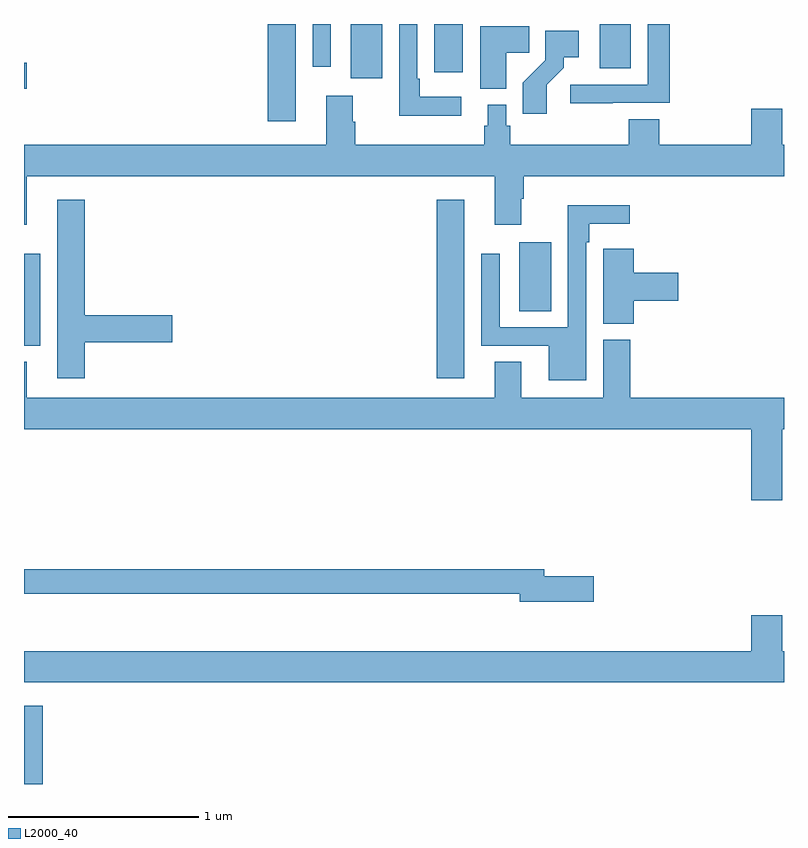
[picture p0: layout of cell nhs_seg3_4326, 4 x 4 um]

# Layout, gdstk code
import gdstk
lib = gdstk.Library(unit=1e-6, precision=1e-09)
def R(c, l, rs):  # rectangles x0, y0, x1, y1
    for r in rs: c.add(gdstk.rectangle(r[:2], r[2:], *l))
def P(c, l, *ps):  # polygons
    for p in ps: c.add(gdstk.Polygon(p, *l))
L2000_40 = (2000, 40)

nhs_seg3_4326 = lib.new_cell('nhs_seg3_4326')
R(nhs_seg3_4326, L2000_40, [(341,680.4,341.099,680.812), (343.172,682.536,343.318,683.476), (341,682.707,341.085,683.191), (343.607,682.888,343.774,683.251), (342.284,683.889,342.43,684.4), (341,684.058,341.014,684.195), (342.719,684.114,342.886,684.4), (343.16,684.147,343.309,684.4), (344.03,684.166,344.194,684.4), (342.519,684.174,342.615,684.4)])
P(nhs_seg3_4326, L2000_40, [(344.099,683.985),(344.399,683.985),(344.399,684.4),(344.283,684.4),(344.283,684.081),(343.875,684.081),(343.875,683.983),(344.099,683.983)],
  [(343.3,684.016),(343.084,684.016),(343.084,684.112),(343.071,684.112),(343.071,684.4),(342.975,684.4),(342.975,683.918),(343.3,683.918)],
  [(343.537,684.25),(343.658,684.25),(343.658,684.388),(343.4,684.388),(343.4,684.059),(343.537,684.059)],
  [(343.75,684.079),(343.84,684.169),(343.84,684.224),(343.921,684.224),(343.921,684.364),(343.743,684.364),(343.743,684.209),(343.624,684.09),(343.624,683.928),(343.75,683.928)],
  [(343.478,683.343),(343.618,683.343),(343.618,683.48),(343.631,683.48),(343.631,683.6),(345,683.6),(345,683.764),(344.992,683.764),(344.992,683.953),(344.828,683.953),(344.828,683.764),(344.343,683.764),(344.343,683.9),(344.183,683.9),(344.183,683.764),(343.559,683.764),(343.559,683.865),(343.539,683.865),(343.539,683.974),(343.442,683.974),(343.442,683.865),(343.423,683.865),(343.423,683.764),(342.743,683.764),(342.743,683.885),(342.73,683.885),(342.73,684.022),(342.59,684.022),(342.59,683.764),(341,683.764),(341,683.343),(341.014,683.343),(341.014,683.6),(343.478,683.6)],
  [(341.321,682.726),(341.779,682.726),(341.779,682.868),(341.321,682.868),(341.321,683.476),(341.174,683.476),(341.174,682.536),(341.321,682.536)],
  [(343.959,683.252),(343.975,683.252),(343.975,683.348),(344.188,683.348),(344.188,683.446),(343.863,683.446),(343.863,682.803),(343.503,682.803),(343.503,683.191),(343.407,683.191),(343.407,682.707),(343.763,682.707),(343.763,682.526),(343.959,682.526)],
  [(344.21,682.943),(344.443,682.943),(344.443,683.09),(344.21,683.09),(344.21,683.218),(344.049,683.218),(344.049,683.105),(344.048,683.105),(344.048,682.822),(344.21,682.822)],
  [(344.992,682.268),(345,682.268),(345,682.432),(344.192,682.432),(344.192,682.737),(344.048,682.737),(344.048,682.432),(343.618,682.432),(343.618,682.622),(343.478,682.622),(343.478,682.432),(341.014,682.432),(341.014,682.622),(341,682.622),(341,682.268),(344.828,682.268),(344.828,681.894),(344.992,681.894)],
  [(343.999,681.494),(343.738,681.494),(343.738,681.53),(341,681.53),(341,681.402),(343.61,681.402),(343.61,681.359),(343.999,681.359)],
  [(345,681.1),(344.992,681.1),(344.992,681.289),(344.828,681.289),(344.828,681.1),(341,681.1),(341,680.936),(345,680.936)])

lib.write_gds('nhs_seg3_4326.gds')
